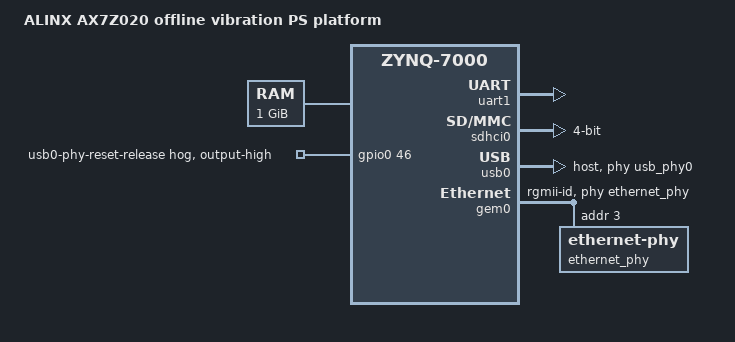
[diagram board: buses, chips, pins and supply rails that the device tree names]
// SPDX-License-Identifier: GPL-2.0-or-later
/*
 * ALINX AX7Z020 carrier + AC7Z020 module, XC7Z020-2CLG400I.
 * Board-specific facts: supplied AX7Z020 manual pp. 29-34,39;
 * supplied base schematic pp. 7-9; boards/ax7z020/ps_config.tcl.
 * FSBL from this project's XSA configures DDR and PS MIO pin multiplexing.
 * Do not replace it with ZedBoard ps7_init or an acquisition BOOT.bin.
 */
/ {
	model = "ALINX AX7Z020 offline vibration PS platform";
	compatible = "alinx,ax7z020", "xlnx,zynq-7000";

	aliases {
		serial0 = &uart1; /* MIO48 TX / MIO49 RX; Linux ttyPS0. */
		mmc0 = &sdhci0;
		ethernet0 = &gem0;
		usb0 = &usb0;
	};

	chosen {
		stdout-path = "serial0:115200n8";
		bootargs = "console=ttyPS0,115200 earlycon rdinit=/sbin/init";
	};

	memory@0 {
		device_type = "memory";
		reg = <0x00000000 0x40000000>; /* 1 GiB, not ZedBoard 512 MiB. */
	};

	usb_phy0: phy@e0002000 {
		compatible = "ulpi-phy";
		#phy-cells = <0>;
		reg = <0xe0002000 0x1000>;
		view-port = <0x0170>;
		drv-vbus; /* USB3320C CPEN drives the carrier's TPS2051B. */
	};
};

&clkc {
	ps-clk-frequency = <33333333>;
};

&uart1 {
	bootph-all;
	status = "okay";
};

&sdhci0 {
	bootph-all;
	status = "okay";
	bus-width = <4>; /* SD0 MIO40-45, native card-detect MIO47. */
	disable-wp;
	no-1-8-v;
	max-frequency = <25000000>; /* Conservative first bring-up rate. */
};

&gpio0 {
	/* USB3320C RESETB is active low; FSBL already performs reset. */
	usb0-reset-release {
		gpio-hog;
		gpios = <46 0>; /* PS MIO46, GPIO_ACTIVE_HIGH. */
		output-high;
		line-name = "usb0-phy-reset-release";
	};
};

&usb0 {
	status = "okay";
	dr_mode = "host";
	phy_type = "ulpi";
	usb-phy = <&usb_phy0>;
};

&gem0 {
	status = "okay";
	phy-mode = "rgmii-id";
	phy-handle = <&ethernet_phy>;

	ethernet_phy: ethernet-phy@3 {
		reg = <3>; /* KSZ9031RNX strapped PHYAD[2:0]=011. */
	};
};

/* No PL framebuffer, HDMI encoder, acquisition DMA or fabricated display node. */
